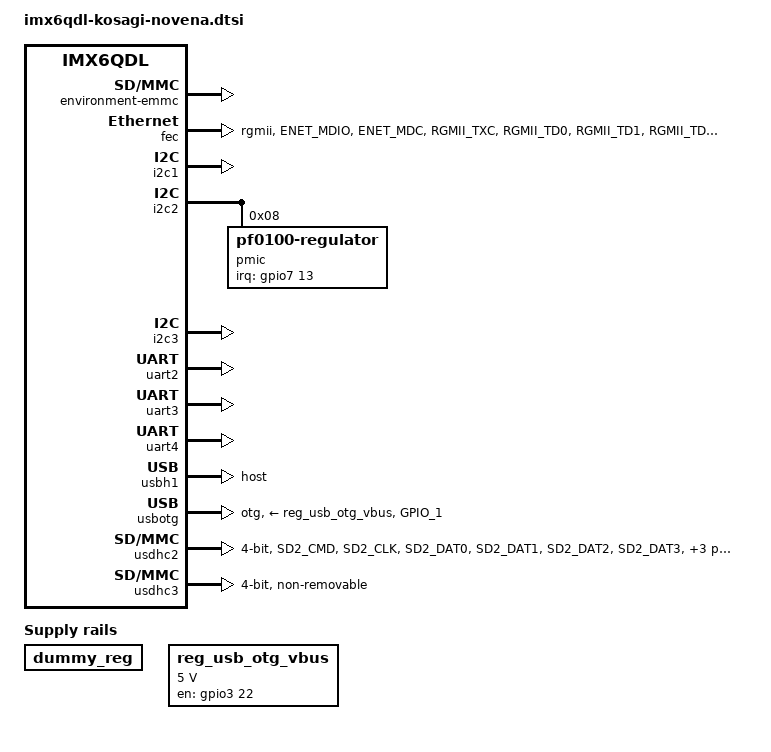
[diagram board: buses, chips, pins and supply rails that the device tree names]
/*
 * Copyright 2014 Kosagi
 * Copyright 2011 Freescale Semiconductor, Inc.
 * Copyright 2011 Linaro Ltd.
 *
 * The code contained herein is licensed under the GNU General Public
 * License. You may obtain a copy of the GNU General Public License
 * Version 2 or later at the following locations:
 *
 * http://www.opensource.org/licenses/gpl-license.html
 * http://www.gnu.org/copyleft/gpl.html
 */
#include <dt-bindings/gpio/gpio.h>

/ {
	regulators {
		compatible = "simple-bus";

		dummy_reg: fixed@0 {
			compatible = "regulator-fixed";
			regulator-name = "dummy-supply";
		};

		reg_usb_otg_vbus: usb_otg_vbus {
			compatible = "regulator-fixed";
			regulator-name = "usb_otg_vbus";
			regulator-min-microvolt = <5000000>;
			regulator-max-microvolt = <5000000>;
			gpio = <&gpio3 22 0>;
			enable-active-high;
		};
	};

	chosen {
		linux,stdout-path = &uart2;

		environment-emmc {
			compatible = "barebox,environment";
			device-path = &usdhc4, "partname:boot1";
		};
	};
};

&fec {
	pinctrl-names = "default";
	pinctrl-0 = <&pinctrl_enet>;
	status = "okay";
	phy-mode = "rgmii";
        phy-reset-gpios = <&gpio3 23 GPIO_ACTIVE_LOW>;
        txen-skew-ps = <0>;
        txc-skew-ps = <3000>;
        rxdv-skew-ps = <0>;
        rxc-skew-ps = <3000>;
        rxd0-skew-ps = <0>;
        rxd1-skew-ps = <0>;
        rxd2-skew-ps = <0>;
        rxd3-skew-ps = <0>;
        txd0-skew-ps = <0>;
        txd1-skew-ps = <0>;
        txd2-skew-ps = <0>;
        txd3-skew-ps = <0>;
        interrupts-extended = <&gpio1 6 IRQ_TYPE_LEVEL_HIGH>,
                              <&intc 0 119 IRQ_TYPE_LEVEL_HIGH>;
};

&iomuxc {
	pinctrl-names = "default";
	pinctrl-0 = <&pinctrl_hog>;

	imx6qdl-novena {
		pinctrl_backlight: backlightgrp {
			fsl,pins = <
				MX6QDL_PAD_DISP0_DAT8__PWM1_OUT 0x1b0b0
			>;
		};

                pinctrl_enet: enetgrp {
			fsl,pins = <
				MX6QDL_PAD_ENET_MDIO__ENET_MDIO		0x1b0b0
				MX6QDL_PAD_ENET_MDC__ENET_MDC		0x1b0b0
				MX6QDL_PAD_RGMII_TXC__RGMII_TXC		0x1b020
				MX6QDL_PAD_RGMII_TD0__RGMII_TD0		0x1b028
				MX6QDL_PAD_RGMII_TD1__RGMII_TD1		0x1b028
				MX6QDL_PAD_RGMII_TD2__RGMII_TD2		0x1b028
				MX6QDL_PAD_RGMII_TD3__RGMII_TD3		0x1b028
				MX6QDL_PAD_RGMII_TX_CTL__RGMII_TX_CTL	0x1b028
				MX6QDL_PAD_ENET_REF_CLK__ENET_TX_CLK	0x1b0b0
				MX6QDL_PAD_RGMII_RXC__RGMII_RXC		0x1b0b0
				MX6QDL_PAD_RGMII_RD0__RGMII_RD0		0x1b0b0
				MX6QDL_PAD_RGMII_RD1__RGMII_RD1		0x1b0b0
				MX6QDL_PAD_RGMII_RD2__RGMII_RD2		0x1b0b0
				MX6QDL_PAD_RGMII_RD3__RGMII_RD3		0x1b0b0
				MX6QDL_PAD_RGMII_RX_CTL__RGMII_RX_CTL	0x1b0b0
				MX6QDL_PAD_GPIO_16__ENET_REF_CLK	0x4001b0a8

				/* Ethernet reset */
				MX6QDL_PAD_EIM_D23__GPIO3_IO23		0x80000000
			>;
                };

		pinctrl_hdmi: hdmigrp {
			fsl,pins = <
				MX6QDL_PAD_KEY_ROW2__HDMI_TX_CEC_LINE 0x1f8b0
			>;
		};

                pinctrl_hog: hoggrp {
			fsl,pins = <
				MX6QDL_PAD_ENET_CRS_DV__GPIO1_IO25 0x80000000
				MX6QDL_PAD_GPIO_18__GPIO7_IO13 0x80000000 /* PMIC irq */
				MX6QDL_PAD_EIM_D26__GPIO3_IO26 0x80000000 /* MAX11801 irq */
				MX6QDL_PAD_NANDF_D5__GPIO2_IO05 0x000030b0 /* Backlight enable */
				MX6QDL_PAD_NANDF_D2__GPIO2_IO02 0x80000000 /* SD2 card detect */
			>;
                };

                pinctrl_i2c1: i2c1grp {
                        fsl,pins = <MX6QDL_I2C1_PINGRP1>;
                };

		pinctrl_i2c2: i2c2grp {
			fsl,pins = <MX6QDL_I2C2_PINGRP1>;
		};

		pinctrl_i2c3: i2c3grp {
			fsl,pins = <MX6QDL_I2C3_PINGRP1>;
		};

		pinctrl_pcie: pciegrp {
			fsl,pins = <
				/* Wakeup */
				MX6QDL_PAD_EIM_D22__GPIO3_IO22	0x80000000

				/* Reset */
				MX6QDL_PAD_EIM_D29__GPIO3_IO29	0x80000000

				/* Power On */
				MX6QDL_PAD_GPIO_17__GPIO7_IO12	0x80000000

				/* Wifi kill */
				MX6QDL_PAD_EIM_A22__GPIO2_IO16	0x80000000
			>;
		};

		pinctrl_sound: soundgrp {
			fsl,pins = <
				/* Audio power regulator */
				MX6QDL_PAD_DISP0_DAT23__GPIO5_IO17	0x80000000

				/* Headphone plug */
				MX6QDL_PAD_DISP0_DAT21__GPIO5_IO15	0x80000000

				/* Speaker amplifier mute */
				MX6QDL_PAD_KEY_ROW1__GPIO4_IO09		0x80000000

				MX6QDL_PAD_GPIO_0__CCM_CLKO1		0x80000000
			>;
		};

                pinctrl_uart2: uart2grp {
                        fsl,pins = <MX6QDL_UART2_PINGRP1>;
                };

                pinctrl_uart3: uart3grp {
                        fsl,pins = <MX6QDL_UART3_PINGRP1>;
                };

                pinctrl_uart4: uart4grp {
                        fsl,pins = <MX6QDL_UART4_PINGRP2>;
                };

		pinctrl_usbotg: usbotggrp {
			fsl,pins = <
				MX6QDL_PAD_GPIO_1__USB_OTG_ID 0x17059
			>;
		};

                pinctrl_usdhc2: usdhc2grp {
			fsl,pins = <
				MX6QDL_PAD_SD2_CMD__SD2_CMD	0x17059
				MX6QDL_PAD_SD2_CLK__SD2_CLK	0x10059
				MX6QDL_PAD_SD2_DAT0__SD2_DATA0	0x17059
				MX6QDL_PAD_SD2_DAT1__SD2_DATA1	0x17059
				MX6QDL_PAD_SD2_DAT2__SD2_DATA2	0x17059
				MX6QDL_PAD_SD2_DAT3__SD2_DATA3	0x17059

				/* Write protect */
				MX6QDL_PAD_GPIO_2__GPIO1_IO02	0x80000000

				/* Card detect */
				MX6QDL_PAD_GPIO_4__GPIO1_IO04	0x80000000
			>;
                };

		pinctrl_usdhc3: usdhc3grp {
			fsl,pins = <MX6QDL_USDHC3_PINGRP_D4_200MHZ>;
		};
        };
};

&i2c1 {
	pinctrl-names = "default";
	pinctrl-0 = <&pinctrl_i2c1>;
	status = "okay";
};

&i2c2 {
	pinctrl-names = "default";
	pinctrl-0 = <&pinctrl_i2c2>;
	status = "okay";

	pmic: pf0100@08 {
		compatible = "pf0100-regulator";
		reg = <0x08>;
		interrupt-parent = <&gpio7>;
		interrupts = <13 8>;
	};
};

&i2c3 {
	pinctrl-names = "default";
	pinctrl-0 = <&pinctrl_i2c3>;
	status = "okay";
};

&ocotp {
	barebox,provide-mac-address = <&fec 0x620>;
};

&uart2 {
	pinctrl-names = "default";
	pinctrl-0 = <&pinctrl_uart2>;
	status = "okay";
};

&uart3 {
	pinctrl-names = "default";
	pinctrl-0 = <&pinctrl_uart3>;
	status = "okay";
};

&uart4 {
	pinctrl-names = "default";
	pinctrl-0 = <&pinctrl_uart4>;
	status = "okay";
};

&usbh1 {
	phy_type = "utmi";
	dr_mode = "host";
	status = "okay";
};

&usbotg {
	vbus-supply = <&reg_usb_otg_vbus>;
	pinctrl-names = "default";
	pinctrl-0 = <&pinctrl_usbotg>;
	phy_type = "utmi";
	dr_mode = "otg";
	disable-over-current;
	status = "okay";
};

&usdhc2 { /* external slot */
	pinctrl-names = "default";
	pinctrl-0 = <&pinctrl_usdhc2>;
	cd-gpios = <&gpio2 2 0>;
	bus-width = <4>;
	status = "okay";
};

&usdhc3 { /* internal card */
	pinctrl-names = "default";
	pinctrl-0 = <&pinctrl_usdhc3>;
	bus-width = <4>;
	non-removable;
	status = "okay";
};
